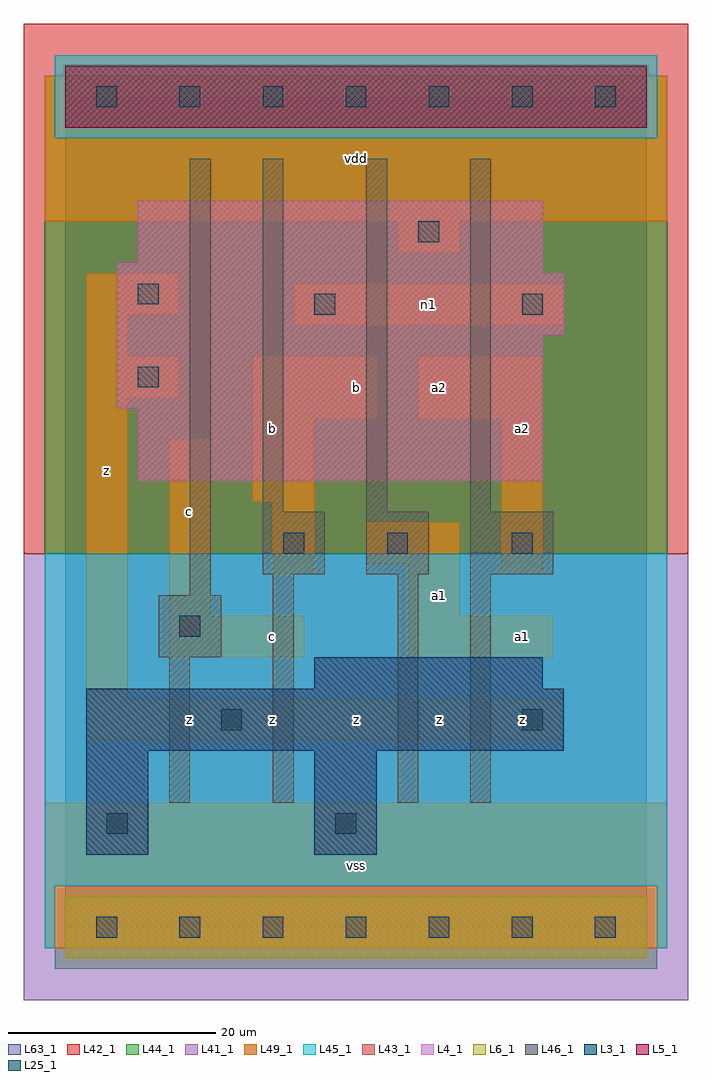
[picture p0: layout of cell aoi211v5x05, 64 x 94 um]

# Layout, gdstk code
import gdstk
lib = gdstk.Library(unit=1e-6, precision=1e-09)
def R(c, l, rs):  # rectangles x0, y0, x1, y1
    for r in rs: c.add(gdstk.rectangle(r[:2], r[2:], *l))
def A(c, l, x, y, w, h, nx, ny, dx, dy):  # array of equal rectangles
    R(c, l, [(x+i*dx, y+j*dy, x+i*dx+w, y+j*dy+h) for i in range(nx) for j in range(ny)])
L3_1 = (3, 1)
L4_1 = (4, 1)
L5_1 = (5, 1)
L6_1 = (6, 1)
L25_1 = (25, 1)
L41_1 = (41, 1)
L42_1 = (42, 1)
L43_1 = (43, 1)
L44_1 = (44, 1)
L45_1 = (45, 1)
L46_1 = (46, 1)
L49_1 = (49, 1)
L63_1 = (63, 1)

aoi211v5x05 = lib.new_cell('aoi211v5x05')
R(aoi211v5x05, L3_1, [(2,7,8,17), (24,7,30,17), (2,17,48,23), (24,23,46,26)])
R(aoi211v5x05, L4_1, [(7,43,46,50), (5,50,46,57), (5,57,48,63), (5,63,46,64), (7,64,46,70)])
R(aoi211v5x05, L5_1, [(0,77,56,83)])
R(aoi211v5x05, L6_1, [(0,-3,56,3), (0,-3,56,3)])
A(aoi211v5x05, L25_1, 3, -1, 2, 2, 7, 2, 8, 80)
R(aoi211v5x05, L25_1, [(4,9,6,11), (26,9,28,11), (15,19,17,21), (44,19,46,21), (11,28,13,30), (21,36,23,38), (31,36,33,38), (43,36,45,38), (7,52,9,54), (24,59,26,61), (44,59,46,61), (7,60,9,62), (34,66,36,68)])
R(aoi211v5x05, L41_1, [(-4,-7,60,36)])
R(aoi211v5x05, L42_1, [(-4,36,60,87)])
R(aoi211v5x05, L43_1, [(0,-3,56,3), (2,7,8,17), (24,7,30,17), (2,17,48,23), (24,23,46,26), (7,43,46,50), (5,50,46,57), (5,57,48,63), (5,63,46,64), (7,64,46,70), (0,77,56,83)])
R(aoi211v5x05, L44_1, [(-1,-4,57,4), (-2,36,58,76), (-2,76,-1,82), (57,76,58,82)])
R(aoi211v5x05, L45_1, [(-2,-2,-1,4), (57,-2,58,4), (-2,4,58,36), (-1,76,57,84)])
A(aoi211v5x05, L46_1, 19, 40, 2, 34, 3, 1, 10, 0)
R(aoi211v5x05, L46_1, [(10,12,12,26), (20,12,22,34), (32,12,34,34), (39,12,41,34), (9,26,15,32), (12,32,14,74), (19,34,25,40), (29,34,35,40), (39,34,47,40)])
R(aoi211v5x05, L49_1, [(-2,-2,58,12), (2,18,48,22), (2,22,6,51), (10,26,23,30), (33,26,47,30), (10,30,14,47), (33,30,38,35), (20,34,24,41), (42,34,46,49), (29,35,38,39), (18,41,24,49), (18,49,30,55), (34,49,46,55), (2,51,11,55), (2,55,6,59), (22,58,48,62), (2,59,11,63), (32,65,38,68), (-2,68,58,82)])
R(aoi211v5x05, L63_1, [(0,0,56,80)])
aoi211v5x05.add(gdstk.Label('z', (4,44), layer=49, texttype=1))
aoi211v5x05.add(gdstk.Label('z', (12,20), layer=49, texttype=1))
aoi211v5x05.add(gdstk.Label('c', (12,40), layer=49, texttype=1))
aoi211v5x05.add(gdstk.Label('vss', (28,6), layer=49, texttype=1))
aoi211v5x05.add(gdstk.Label('c', (20,28), layer=49, texttype=1))
aoi211v5x05.add(gdstk.Label('z', (20,20), layer=49, texttype=1))
aoi211v5x05.add(gdstk.Label('z', (28,20), layer=49, texttype=1))
aoi211v5x05.add(gdstk.Label('b', (28,52), layer=49, texttype=1))
aoi211v5x05.add(gdstk.Label('b', (20,48), layer=49, texttype=1))
aoi211v5x05.add(gdstk.Label('vdd', (28,74), layer=49, texttype=1))
aoi211v5x05.add(gdstk.Label('z', (36,20), layer=49, texttype=1))
aoi211v5x05.add(gdstk.Label('a1', (44,28), layer=49, texttype=1))
aoi211v5x05.add(gdstk.Label('z', (44,20), layer=49, texttype=1))
aoi211v5x05.add(gdstk.Label('a1', (36,32), layer=49, texttype=1))
aoi211v5x05.add(gdstk.Label('a2', (44,48), layer=49, texttype=1))
aoi211v5x05.add(gdstk.Label('a2', (36,52), layer=49, texttype=1))
aoi211v5x05.add(gdstk.Label('n1', (35,60), layer=49, texttype=1))

lib.write_gds('aoi211v5x05.gds')
